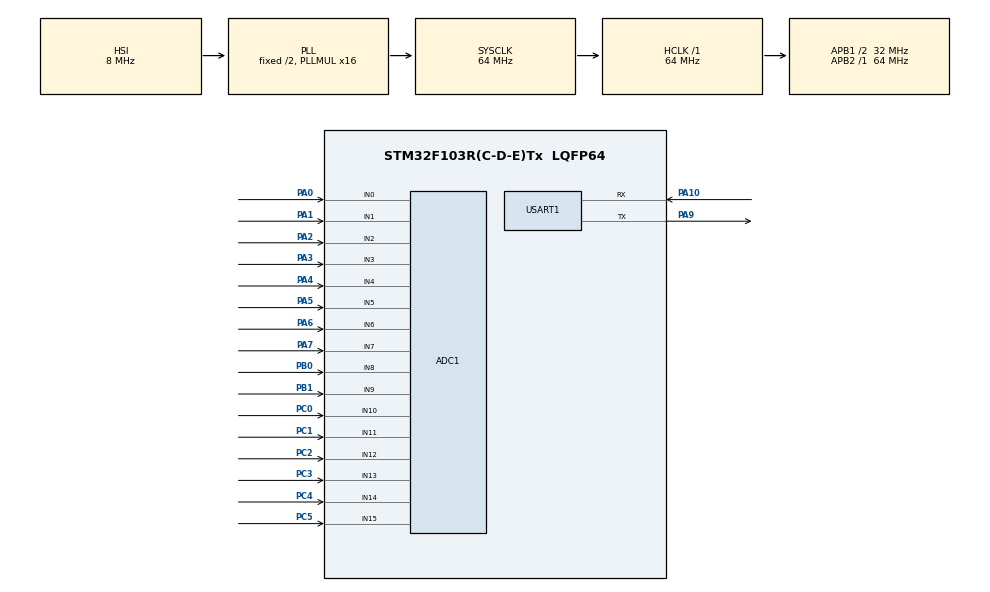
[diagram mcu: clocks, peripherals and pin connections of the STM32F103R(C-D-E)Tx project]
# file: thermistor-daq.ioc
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ADC1.Channel-0\#ChannelRegularConversion=ADC_CHANNEL_0
ADC1.Channel-1\#ChannelRegularConversion=ADC_CHANNEL_1
ADC1.Channel-10\#ChannelRegularConversion=ADC_CHANNEL_10
ADC1.Channel-11\#ChannelRegularConversion=ADC_CHANNEL_11
ADC1.Channel-12\#ChannelRegularConversion=ADC_CHANNEL_12
ADC1.Channel-13\#ChannelRegularConversion=ADC_CHANNEL_13
ADC1.Channel-14\#ChannelRegularConversion=ADC_CHANNEL_14
ADC1.Channel-15\#ChannelRegularConversion=ADC_CHANNEL_15
ADC1.Channel-2\#ChannelRegularConversion=ADC_CHANNEL_2
ADC1.Channel-3\#ChannelRegularConversion=ADC_CHANNEL_3
ADC1.Channel-4\#ChannelRegularConversion=ADC_CHANNEL_4
ADC1.Channel-5\#ChannelRegularConversion=ADC_CHANNEL_5
ADC1.Channel-6\#ChannelRegularConversion=ADC_CHANNEL_6
ADC1.Channel-7\#ChannelRegularConversion=ADC_CHANNEL_7
ADC1.Channel-8\#ChannelRegularConversion=ADC_CHANNEL_8
ADC1.Channel-9\#ChannelRegularConversion=ADC_CHANNEL_9
ADC1.ExternalTrigConv=ADC_EXTERNALTRIGCONV_T3_TRGO
ADC1.NbrOfConversion=16
ADC1.NbrOfConversionFlag=1
ADC1.Rank-0\#ChannelRegularConversion=1
ADC1.Rank-1\#ChannelRegularConversion=2
ADC1.Rank-10\#ChannelRegularConversion=11
ADC1.Rank-11\#ChannelRegularConversion=12
ADC1.Rank-12\#ChannelRegularConversion=13
ADC1.Rank-13\#ChannelRegularConversion=14
ADC1.Rank-14\#ChannelRegularConversion=15
ADC1.Rank-15\#ChannelRegularConversion=16
ADC1.Rank-2\#ChannelRegularConversion=3
ADC1.Rank-3\#ChannelRegularConversion=4
ADC1.Rank-4\#ChannelRegularConversion=5
ADC1.Rank-5\#ChannelRegularConversion=6
ADC1.Rank-6\#ChannelRegularConversion=7
ADC1.Rank-7\#ChannelRegularConversion=8
ADC1.Rank-8\#ChannelRegularConversion=9
ADC1.Rank-9\#ChannelRegularConversion=10
ADC1.SamplingTime-0\#ChannelRegularConversion=ADC_SAMPLETIME_1CYCLE_5
ADC1.SamplingTime-1\#ChannelRegularConversion=ADC_SAMPLETIME_1CYCLE_5
ADC1.SamplingTime-10\#ChannelRegularConversion=ADC_SAMPLETIME_1CYCLE_5
ADC1.SamplingTime-11\#ChannelRegularConversion=ADC_SAMPLETIME_1CYCLE_5
ADC1.SamplingTime-12\#ChannelRegularConversion=ADC_SAMPLETIME_1CYCLE_5
ADC1.SamplingTime-13\#ChannelRegularConversion=ADC_SAMPLETIME_1CYCLE_5
ADC1.SamplingTime-14\#ChannelRegularConversion=ADC_SAMPLETIME_1CYCLE_5
ADC1.SamplingTime-15\#ChannelRegularConversion=ADC_SAMPLETIME_1CYCLE_5
ADC1.SamplingTime-2\#ChannelRegularConversion=ADC_SAMPLETIME_1CYCLE_5
ADC1.SamplingTime-3\#ChannelRegularConversion=ADC_SAMPLETIME_1CYCLE_5
ADC1.SamplingTime-4\#ChannelRegularConversion=ADC_SAMPLETIME_1CYCLE_5
ADC1.SamplingTime-5\#ChannelRegularConversion=ADC_SAMPLETIME_1CYCLE_5
ADC1.SamplingTime-6\#ChannelRegularConversion=ADC_SAMPLETIME_1CYCLE_5
ADC1.SamplingTime-7\#ChannelRegularConversion=ADC_SAMPLETIME_1CYCLE_5
ADC1.SamplingTime-8\#ChannelRegularConversion=ADC_SAMPLETIME_1CYCLE_5
ADC1.SamplingTime-9\#ChannelRegularConversion=ADC_SAMPLETIME_1CYCLE_5
ADC1.master=1
Dma.ADC1.0.Direction=DMA_PERIPH_TO_MEMORY
Dma.ADC1.0.Instance=DMA1_Channel1
Dma.ADC1.0.MemDataAlignment=DMA_MDATAALIGN_HALFWORD
Dma.ADC1.0.MemInc=DMA_MINC_ENABLE
Dma.ADC1.0.Mode=DMA_CIRCULAR
Dma.ADC1.0.PeriphDataAlignment=DMA_PDATAALIGN_HALFWORD
Dma.ADC1.0.PeriphInc=DMA_PINC_DISABLE
Dma.ADC1.0.Priority=DMA_PRIORITY_LOW
Dma.Request0=ADC1
Mcu.Family=STM32F1
Mcu.Name=STM32F103R(C-D-E)Tx
Mcu.Package=LQFP64
NVIC.DMA1_Channel1_IRQn=true\:1\:0\:true\:false\:true\:false\:true
NVIC.PriorityGroup=NVIC_PRIORITYGROUP_4
PA0-WKUP.Signal=ADCx_IN0
PA1.Signal=ADCx_IN1
PA10.Mode=Asynchronous
PA10.Signal=USART1_RX
PA13.Mode=Serial_Wire
PA13.Signal=SYS_JTMS-SWDIO
PA14.Mode=Serial_Wire
PA14.Signal=SYS_JTCK-SWCLK
PA2.Signal=ADCx_IN2
PA3.Signal=ADCx_IN3
PA4.Signal=ADCx_IN4
PA5.Signal=ADCx_IN5
PA6.Signal=ADCx_IN6
PA7.Signal=ADCx_IN7
PA9.Mode=Asynchronous
PA9.Signal=USART1_TX
PB0.Signal=ADCx_IN8
PB1.Signal=ADCx_IN9
PC0.Signal=ADCx_IN10
PC1.Signal=ADCx_IN11
PC2.Signal=ADCx_IN12
PC3.Signal=ADCx_IN13
PC4.Signal=ADCx_IN14
PC5.Signal=ADCx_IN15
ProjectManager.HeapSize=0x200
ProjectManager.StackSize=0x400
ProjectManager.TargetToolchain=Makefile
RCC.ADCPresc=RCC_ADCPCLK2_DIV8
RCC.AHBFreq_Value=64000000
RCC.APB1CLKDivider=RCC_HCLK_DIV2
RCC.APB1Freq_Value=32000000
RCC.APB1TimFreq_Value=64000000
RCC.APB2Freq_Value=64000000
RCC.APB2TimFreq_Value=64000000
RCC.HCLKFreq_Value=64000000
RCC.PLLMUL=RCC_PLL_MUL16
RCC.SYSCLKFreq_VALUE=64000000
RCC.SYSCLKSource=RCC_SYSCLKSOURCE_PLLCLK
RCC.USBFreq_Value=64000000
SH.ADCx_IN0.0=ADC1_IN0,IN0
SH.ADCx_IN1.0=ADC1_IN1,IN1
SH.ADCx_IN10.0=ADC1_IN10,IN10
SH.ADCx_IN11.0=ADC1_IN11,IN11
SH.ADCx_IN12.0=ADC1_IN12,IN12
SH.ADCx_IN13.0=ADC1_IN13,IN13
SH.ADCx_IN14.0=ADC1_IN14,IN14
SH.ADCx_IN15.0=ADC1_IN15,IN15
SH.ADCx_IN2.0=ADC1_IN2,IN2
SH.ADCx_IN3.0=ADC1_IN3,IN3
SH.ADCx_IN4.0=ADC1_IN4,IN4
SH.ADCx_IN5.0=ADC1_IN5,IN5
SH.ADCx_IN6.0=ADC1_IN6,IN6
SH.ADCx_IN7.0=ADC1_IN7,IN7
SH.ADCx_IN8.0=ADC1_IN8,IN8
SH.ADCx_IN9.0=ADC1_IN9,IN9
TIM3.Period=ADC_TRIGGER_TIMER_PERIOD - 1
TIM3.Prescaler=ADC_TRIGGER_TIMER_PRESCALER - 1
TIM3.TIM_MasterOutputTrigger=TIM_TRGO_UPDATE
USART1.VirtualMode=VM_ASYNC
VP_TIM3_VS_ClockSourceINT.Mode=Internal
board=custom

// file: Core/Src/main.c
/* USER CODE BEGIN Header */
/**
  ******************************************************************************
  * @file           : main.c
  * @brief          : Main program body
  ******************************************************************************
  * @attention
  *
  * <h2><center>&copy; Copyright (c) 2021 STMicroelectronics.
  * All rights reserved.</center></h2>
  *
  * This software component is licensed by ST under BSD 3-Clause license,
  * the "License"; You may not use this file except in compliance with the
  * License. You may obtain a copy of the License at:
  *                        opensource.org/licenses/BSD-3-Clause
  *
  ******************************************************************************
  */
/* USER CODE END Header */
#include "main.h"

/* USER CODE BEGIN Includes */
#include <stdio.h>
#include "debug_io.h"
#include "data_collect.h"
/* USER CODE END Includes */

/* USER CODE BEGIN PD */

// ADC trigger frequency is
// 72 MHz / (ADC_TRIGGER_TIMER_PRESCALER * ADC_TRIGGER_TIMER_PERIOD)
// Select trigger frequency of 64 Hz
#define ADC_TRIGGER_TIMER_PRESCALER 5625
#define ADC_TRIGGER_TIMER_PERIOD 200

#define LED_OFF GPIO_PIN_SET
#define LED_ON GPIO_PIN_RESET

/* USER CODE END PD */

ADC_HandleTypeDef hadc1;
DMA_HandleTypeDef hdma_adc1;

TIM_HandleTypeDef htim3;

UART_HandleTypeDef huart1;

void SystemClock_Config(void);
static void MX_GPIO_Init(void);
static void MX_DMA_Init(void);
static void MX_ADC1_Init(void);
static void MX_TIM3_Init(void);
static void MX_USART1_UART_Init(void);
/* USER CODE BEGIN PFP */
void resetTerminal(void);
/* USER CODE END PFP */

int main(void)
{
  /* USER CODE BEGIN 1 */
  uint32_t readings[DATA_COLLECT_TOTAL_NUM_ANALOG_CHANNELS];
  // uint32_t last_reading_tick = 0;
  /* USER CODE END 1 */

  /* MCU Configuration--------------------------------------------------------*/

  /* Reset of all peripherals, Initializes the Flash interface and the Systick. */
  HAL_Init();

  /* Configure the system clock */
  SystemClock_Config();

  /* USER CODE BEGIN SysInit */
  DebugIO_Init(&huart1);
  __HAL_DBGMCU_FREEZE_TIM3(); // Pause timer 3 (ADC trigger timer) on debug
  /* USER CODE END SysInit */

  /* Initialize all configured peripherals */
  MX_GPIO_Init();
  MX_DMA_Init();
  MX_ADC1_Init();
  MX_TIM3_Init();
  MX_USART1_UART_Init();
  /* USER CODE BEGIN 2 */
  DataCollect_PrepareHardware(&hadc1, NULL, NULL, NULL);
  resetTerminal();
  DataCollect_Start(&htim3);
  /* USER CODE END 2 */

  /* Infinite loop */
  /* USER CODE BEGIN WHILE */
  while (1)
  {
    // Wait for new set of readings
    while (!DataCollect_Poll());

    DataCollect_Get(readings);

    // Blink LED on data transmit
    // last_reading_tick = HAL_GetTick();
    // HAL_GPIO_WritePin(BOARD_LED_GPIO_Port, BOARD_LED_Pin, LED_ON);

    for (int i = 0; i < DATA_COLLECT_TOTAL_NUM_ANALOG_CHANNELS - 1; i++)
    {
      printf("%lu,", readings[i]);
    }
    printf("%lu;\r\n", readings[DATA_COLLECT_TOTAL_NUM_ANALOG_CHANNELS - 1]);

    // while (HAL_GetTick() - last_reading_tick < 100);
    // HAL_GPIO_WritePin(BOARD_LED_GPIO_Port, BOARD_LED_Pin, LED_OFF);
    /* USER CODE END WHILE */

  }
}

void SystemClock_Config(void)
{
  RCC_OscInitTypeDef RCC_OscInitStruct = {0};
  RCC_ClkInitTypeDef RCC_ClkInitStruct = {0};
  RCC_PeriphCLKInitTypeDef PeriphClkInit = {0};

  /** Initializes the RCC Oscillators according to the specified parameters
  * in the RCC_OscInitTypeDef structure.
  */
  RCC_OscInitStruct.OscillatorType = RCC_OSCILLATORTYPE_HSI;
  RCC_OscInitStruct.HSIState = RCC_HSI_ON;
  RCC_OscInitStruct.HSICalibrationValue = RCC_HSICALIBRATION_DEFAULT;
  RCC_OscInitStruct.PLL.PLLState = RCC_PLL_ON;
  RCC_OscInitStruct.PLL.PLLSource = RCC_PLLSOURCE_HSI_DIV2;
  RCC_OscInitStruct.PLL.PLLMUL = RCC_PLL_MUL16;
  if (HAL_RCC_OscConfig(&RCC_OscInitStruct) != HAL_OK)
  {
    Error_Handler();
  }
  /** Initializes the CPU, AHB and APB buses clocks
  */
  RCC_ClkInitStruct.ClockType = RCC_CLOCKTYPE_HCLK|RCC_CLOCKTYPE_SYSCLK
                              |RCC_CLOCKTYPE_PCLK1|RCC_CLOCKTYPE_PCLK2;
  RCC_ClkInitStruct.SYSCLKSource = RCC_SYSCLKSOURCE_PLLCLK;
  RCC_ClkInitStruct.AHBCLKDivider = RCC_SYSCLK_DIV1;
  RCC_ClkInitStruct.APB1CLKDivider = RCC_HCLK_DIV2;
  RCC_ClkInitStruct.APB2CLKDivider = RCC_HCLK_DIV1;

  if (HAL_RCC_ClockConfig(&RCC_ClkInitStruct, FLASH_LATENCY_2) != HAL_OK)
  {
    Error_Handler();
  }
  PeriphClkInit.PeriphClockSelection = RCC_PERIPHCLK_ADC;
  PeriphClkInit.AdcClockSelection = RCC_ADCPCLK2_DIV8;
  if (HAL_RCCEx_PeriphCLKConfig(&PeriphClkInit) != HAL_OK)
  {
    Error_Handler();
  }
}

static void MX_ADC1_Init(void)
{

  ADC_ChannelConfTypeDef sConfig = {0};

  /** Common config
  */
  hadc1.Instance = ADC1;
  hadc1.Init.ScanConvMode = ADC_SCAN_ENABLE;
  hadc1.Init.ContinuousConvMode = DISABLE;
  hadc1.Init.DiscontinuousConvMode = DISABLE;
  hadc1.Init.ExternalTrigConv = ADC_EXTERNALTRIGCONV_T3_TRGO;
  hadc1.Init.DataAlign = ADC_DATAALIGN_RIGHT;
  hadc1.Init.NbrOfConversion = 16;
  if (HAL_ADC_Init(&hadc1) != HAL_OK)
  {
    Error_Handler();
  }
  /** Configure Regular Channel
  */
  sConfig.Channel = ADC_CHANNEL_0;
  sConfig.Rank = ADC_REGULAR_RANK_1;
  sConfig.SamplingTime = ADC_SAMPLETIME_1CYCLE_5;
  if (HAL_ADC_ConfigChannel(&hadc1, &sConfig) != HAL_OK)
  {
    Error_Handler();
  }
  /** Configure Regular Channel
  */
  sConfig.Channel = ADC_CHANNEL_1;
  sConfig.Rank = ADC_REGULAR_RANK_2;
  if (HAL_ADC_ConfigChannel(&hadc1, &sConfig) != HAL_OK)
  {
    Error_Handler();
  }
  /** Configure Regular Channel
  */
  sConfig.Channel = ADC_CHANNEL_2;
  sConfig.Rank = ADC_REGULAR_RANK_3;
  if (HAL_ADC_ConfigChannel(&hadc1, &sConfig) != HAL_OK)
  {
    Error_Handler();
  }
  /** Configure Regular Channel
  */
  sConfig.Channel = ADC_CHANNEL_3;
  sConfig.Rank = ADC_REGULAR_RANK_4;
  if (HAL_ADC_ConfigChannel(&hadc1, &sConfig) != HAL_OK)
  {
    Error_Handler();
  }
  /** Configure Regular Channel
  */
  sConfig.Channel = ADC_CHANNEL_4;
  sConfig.Rank = ADC_REGULAR_RANK_5;
  if (HAL_ADC_ConfigChannel(&hadc1, &sConfig) != HAL_OK)
  {
    Error_Handler();
  }
  /** Configure Regular Channel
  */
  sConfig.Channel = ADC_CHANNEL_5;
  sConfig.Rank = ADC_REGULAR_RANK_6;
  if (HAL_ADC_ConfigChannel(&hadc1, &sConfig) != HAL_OK)
  {
    Error_Handler();
  }
  /** Configure Regular Channel
  */
  sConfig.Channel = ADC_CHANNEL_6;
  sConfig.Rank = ADC_REGULAR_RANK_7;
  if (HAL_ADC_ConfigChannel(&hadc1, &sConfig) != HAL_OK)
  {
    Error_Handler();
  }
  /** Configure Regular Channel
  */
  sConfig.Channel = ADC_CHANNEL_7;
  sConfig.Rank = ADC_REGULAR_RANK_8;
  if (HAL_ADC_ConfigChannel(&hadc1, &sConfig) != HAL_OK)
  {
    Error_Handler();
  }
  /** Configure Regular Channel
  */
  sConfig.Channel = ADC_CHANNEL_8;
  sConfig.Rank = ADC_REGULAR_RANK_9;
  if (HAL_ADC_ConfigChannel(&hadc1, &sConfig) != HAL_OK)
  {
    Error_Handler();
  }
  /** Configure Regular Channel
  */
  sConfig.Channel = ADC_CHANNEL_9;
  sConfig.Rank = ADC_REGULAR_RANK_10;
  if (HAL_ADC_ConfigChannel(&hadc1, &sConfig) != HAL_OK)
  {
    Error_Handler();
  }
  /** Configure Regular Channel
  */
  sConfig.Channel = ADC_CHANNEL_10;
  sConfig.Rank = ADC_REGULAR_RANK_11;
  if (HAL_ADC_ConfigChannel(&hadc1, &sConfig) != HAL_OK)
  {
    Error_Handler();
  }
  /** Configure Regular Channel
  */
  sConfig.Channel = ADC_CHANNEL_11;
  sConfig.Rank = ADC_REGULAR_RANK_12;
  if (HAL_ADC_ConfigChannel(&hadc1, &sConfig) != HAL_OK)
  {
    Error_Handler();
  }
  /** Configure Regular Channel
  */
  sConfig.Channel = ADC_CHANNEL_12;
  sConfig.Rank = ADC_REGULAR_RANK_13;
  if (HAL_ADC_ConfigChannel(&hadc1, &sConfig) != HAL_OK)
  {
    Error_Handler();
  }
  /** Configure Regular Channel
  */
  sConfig.Channel = ADC_CHANNEL_13;
  sConfig.Rank = ADC_REGULAR_RANK_14;
  if (HAL_ADC_ConfigChannel(&hadc1, &sConfig) != HAL_OK)
  {
    Error_Handler();
  }
  /** Configure Regular Channel
  */
  sConfig.Channel = ADC_CHANNEL_14;
  sConfig.Rank = ADC_REGULAR_RANK_15;
  if (HAL_ADC_ConfigChannel(&hadc1, &sConfig) != HAL_OK)
  {
    Error_Handler();
  }
  /** Configure Regular Channel
  */
  sConfig.Channel = ADC_CHANNEL_15;
  sConfig.Rank = ADC_REGULAR_RANK_16;
  if (HAL_ADC_ConfigChannel(&hadc1, &sConfig) != HAL_OK)
  {
    Error_Handler();
  }

}

static void MX_TIM3_Init(void)
{

  TIM_ClockConfigTypeDef sClockSourceConfig = {0};
  TIM_MasterConfigTypeDef sMasterConfig = {0};

  htim3.Instance = TIM3;
  htim3.Init.Prescaler = ADC_TRIGGER_TIMER_PRESCALER - 1;
  htim3.Init.CounterMode = TIM_COUNTERMODE_UP;
  htim3.Init.Period = ADC_TRIGGER_TIMER_PERIOD - 1;
  htim3.Init.ClockDivision = TIM_CLOCKDIVISION_DIV1;
  htim3.Init.AutoReloadPreload = TIM_AUTORELOAD_PRELOAD_DISABLE;
  if (HAL_TIM_Base_Init(&htim3) != HAL_OK)
  {
    Error_Handler();
  }
  sClockSourceConfig.ClockSource = TIM_CLOCKSOURCE_INTERNAL;
  if (HAL_TIM_ConfigClockSource(&htim3, &sClockSourceConfig) != HAL_OK)
  {
    Error_Handler();
  }
  sMasterConfig.MasterOutputTrigger = TIM_TRGO_UPDATE;
  sMasterConfig.MasterSlaveMode = TIM_MASTERSLAVEMODE_DISABLE;
  if (HAL_TIMEx_MasterConfigSynchronization(&htim3, &sMasterConfig) != HAL_OK)
  {
    Error_Handler();
  }

}

static void MX_USART1_UART_Init(void)
{

  huart1.Instance = USART1;
  huart1.Init.BaudRate = 115200;
  huart1.Init.WordLength = UART_WORDLENGTH_8B;
  huart1.Init.StopBits = UART_STOPBITS_1;
  huart1.Init.Parity = UART_PARITY_NONE;
  huart1.Init.Mode = UART_MODE_TX_RX;
  huart1.Init.HwFlowCtl = UART_HWCONTROL_NONE;
  huart1.Init.OverSampling = UART_OVERSAMPLING_16;
  if (HAL_UART_Init(&huart1) != HAL_OK)
  {
    Error_Handler();
  }

}

static void MX_DMA_Init(void)
{

  /* DMA controller clock enable */
  __HAL_RCC_DMA1_CLK_ENABLE();

  /* DMA interrupt init */
  /* DMA1_Channel1_IRQn interrupt configuration */
  HAL_NVIC_SetPriority(DMA1_Channel1_IRQn, 1, 0);
  HAL_NVIC_EnableIRQ(DMA1_Channel1_IRQn);

}

static void MX_GPIO_Init(void)
{

  /* GPIO Ports Clock Enable */
  __HAL_RCC_GPIOC_CLK_ENABLE();
  __HAL_RCC_GPIOA_CLK_ENABLE();
  __HAL_RCC_GPIOB_CLK_ENABLE();

}

/* USER CODE BEGIN 4 */
void resetTerminal(void)
{
    printf("\033[2J\033[H"); // clear screen and set cursor to home (0,0)
}
/* USER CODE END 4 */

void Error_Handler(void)
{
  __disable_irq();
  while (1)
  {
  }
}

/************************ (C) COPYRIGHT STMicroelectronics *****END OF FILE****/
